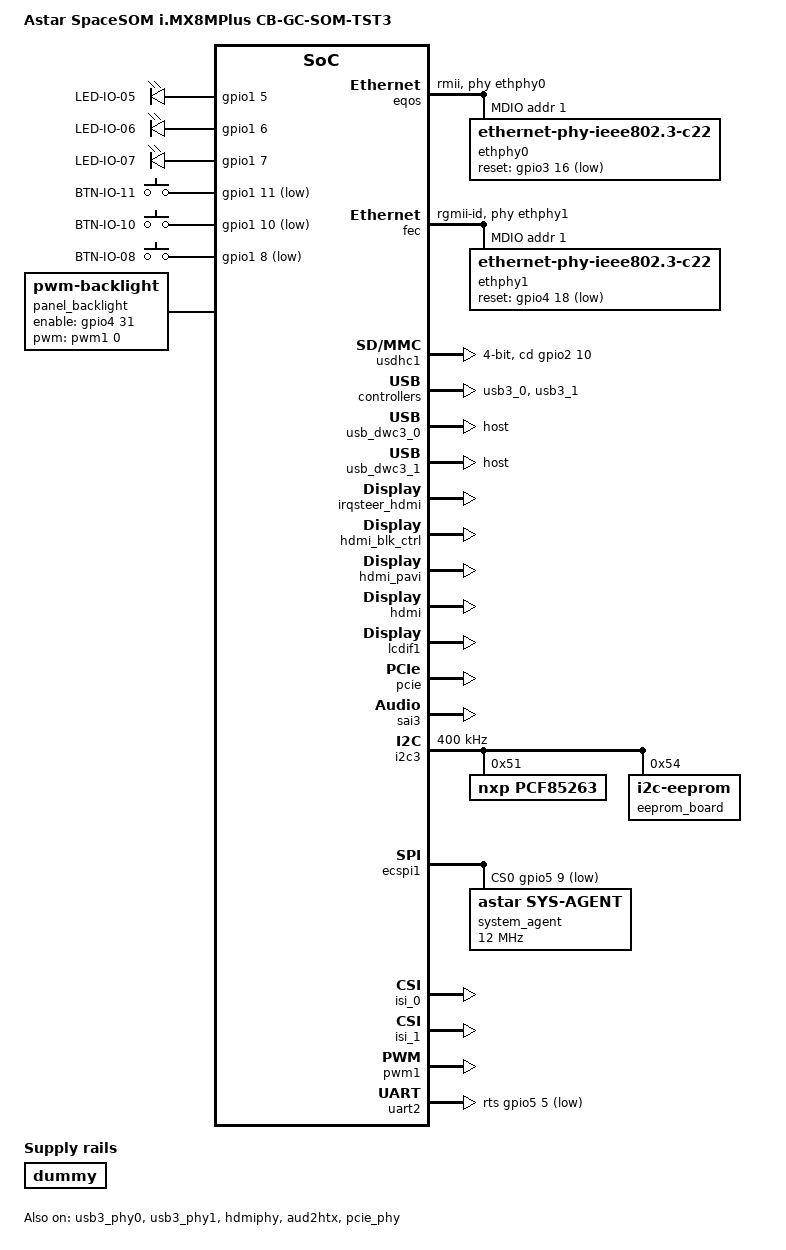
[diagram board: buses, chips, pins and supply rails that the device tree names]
// SPDX-License-Identifier: (GPL-2.0+ OR MIT)
/*
 * Copyright 2022 SomLabs Astar
 *
 */

#include <dt-bindings/pwm/pwm.h>
#include "spacesom-8mplus.dtsi"
#include "spacesom-8mplus-cb-sound-nau8822.dtsi"

/ {
        model = "Astar SpaceSOM i.MX8MPlus CB-GC-SOM-TST3";

        aliases {
		rtc0 = &pcf85263;
		rtc1 = &snvs_rtc;
	};

        dummy: regulator-dummy {
                compatible = "regulator-fixed";
                regulator-name = "dummy";
	        regulator-always-on;
        };

        leds {
                pinctrl-0 = <&pinctrl_gpio_leds_cb>;

                led-io-05 {
                        label = "LED-IO-05";
                        gpios = <&gpio1 5 0>;
                        default-state = "off";
                };
                led-io-06 {
                        label = "LED-IO-06";
                        gpios = <&gpio1 6 0>;
                        default-state = "off";
                };
                led-io-07 {
                        label = "LED-IO-07";
                        gpios = <&gpio1 7 0>;
                        default-state = "off";
                };
        };


        somstatus {
                pinctrl-0 = <&pinctrl_gpio_som_status>;
                pinctrl-names = "default";
                status = "okay";
                status-io-01 {
                        label = "STATUS-IO-01";
                        gpios = <&gpio1 9 0>;
                        default-state = "off";
                };
        };

        gpio_buttons: gpio_buttons0 {
                compatible = "gpio-keys";
                pinctrl-names = "default";
                pinctrl-0 = <&pinctrl_gpio_buttons_cb>;
                #address-cells = <1>;
                #size-cells = <0>;

                switch1 {
                        label = "BTN-IO-11";
                        linux,code = <0x100>;
                        gpios = <&gpio1 11 GPIO_ACTIVE_LOW>;
                };

                switch2 {
                        label = "BTN-IO-10";
                        linux,code = <0x101>;
                        gpios = <&gpio1 10 GPIO_ACTIVE_LOW>;
                };

                switch4 {
                        label = "BTN-IO-08";
                        linux,code = <0x103>;
                        gpios = <&gpio1 8 GPIO_ACTIVE_LOW>;
                };
        };

        panel_backlight: panel-backlight {
                compatible = "pwm-backlight";
                pinctrl-names = "default";
                pinctrl-0 = <&pinctrl_panel_backlight_en>;
                pwms = <&pwm1 0 25000 PWM_POLARITY_INVERTED>;

                brightness-levels = < 0  1  2  3  4  5  6  7  8  9
                                     10 11 12 13 14 15 16 17 18 19
                                     20 21 22 23 24 25 26 27 28 29
                                     30 31 32 33 34 35 36 37 38 39
                                     40 41 42 43 44 45 46 47 48 49
                                     50 51 52 53 54 55 56 57 58 59
                                     60 61 62 63 64 65 66 67 68 69
                                     70 71 72 73 74 75 76 77 78 79
                                     80 81 82 83 84 85 86 87 88 89
                                     90 91 92 93 94 95 96 97 98 99
                                     100>;
                default-brightness-level = <80>;

                enable-gpios = <&gpio4 31 0>;
                //status = "disabled";
                //status = "okay";
        };
};

&eqos {
        pinctrl-names = "default";
        pinctrl-0 = <&pinctrl_eqos>;
        phy-int-gpios = <&gpio4 20 GPIO_ACTIVE_LOW>; /* GPIO4_20 */
        phy-mode = "rmii";
        phy-handle = <&ethphy0>;
        snps,force_thresh_dma_mode;
        snps,mtl-tx-config = <&mtl_tx_setup>;
        snps,mtl-rx-config = <&mtl_rx_setup>;
        status = "okay";
        snps,rmii_refclk_ext;

        mdio {
                compatible = "snps,dwmac-mdio";
                #address-cells = <1>;
                #size-cells = <0>;

                ethphy0: ethernet-phy@1 {
                        compatible = "ethernet-phy-ieee802.3-c22";
                        reg = <1>;
                        eee-broken-1000t;
                        reset-gpios = <&gpio3 16 GPIO_ACTIVE_LOW>;
                        reset-assert-us = <10000>;
                        reset-deassert-us = <80000>;
                        //realtek,clkout-disable;
                };
        };

        mtl_tx_setup: tx-queues-config {
                snps,tx-queues-to-use = <5>;
                snps,tx-sched-sp;
                queue0 {
                        snps,dcb-algorithm;
                        snps,priority = <0x1>;
                };
                queue1 {
                        snps,dcb-algorithm;
                        snps,priority = <0x2>;
                };
                queue2 {
                        snps,dcb-algorithm;
                        snps,priority = <0x4>;
                };
                queue3 {
                        snps,dcb-algorithm;
                        snps,priority = <0x8>;
                };
                queue4 {
                        snps,dcb-algorithm;
                        snps,priority = <0xf0>;
                };
        };

        mtl_rx_setup: rx-queues-config {
                snps,rx-queues-to-use = <5>;
                snps,rx-sched-sp;
                queue0 {
                        snps,dcb-algorithm;
                        snps,priority = <0x1>;
                        snps,map-to-dma-channel = <0>;
                };
                queue1 {
                        snps,dcb-algorithm;
                        snps,priority = <0x2>;
                        snps,map-to-dma-channel = <1>;
                };
                queue2 {
                        snps,dcb-algorithm;
                        snps,priority = <0x4>;
                        snps,map-to-dma-channel = <2>;
                };
                queue3 {
                        snps,dcb-algorithm;
                        snps,priority = <0x8>;
                        snps,map-to-dma-channel = <3>;
                };
                queue4 {
                        snps,dcb-algorithm;
                        snps,priority = <0xf0>;
                        snps,map-to-dma-channel = <4>;
                };
        };
};

&fec {
        pinctrl-names = "default";
        pinctrl-0 = <&pinctrl_fec>;
        phy-int-gpios = <&gpio4 19 GPIO_ACTIVE_LOW>; /* GPIO4_19 */
        phy-mode = "rgmii-id";
        //phy-mode = "rgmii-rxid"; //tobylo
        phy-handle = <&ethphy1>;
        fsl,magic-packet;
        status = "okay";

        mdio {
                #address-cells = <1>;
                #size-cells = <0>;

                ethphy1: ethernet-phy@1 {
                        compatible = "ethernet-phy-ieee802.3-c22";
                        reg = <1>;
                        eee-broken-1000t;
                        reset-gpios = <&gpio4 18 GPIO_ACTIVE_LOW>;
                        reset-assert-us = <10000>;
                        reset-deassert-us = <80000>;
                        realtek,aldps-enable;
                        realtek,clkout-disable;
                };
        };     
};

&iomuxc {
        pinctrl-names = "default";
        pinctrl-0 = <&pinctrl_gpio_som_status>;
/*        
        pinctrl-0 = <&pinctrl_hog>;

        pinctrl_hog: hoggrp {
                fsl,pins = <
                        MX8MP_IOMUXC_HDMI_DDC_SCL__HDMIMIX_HDMI_SCL     0x400001c3
                        MX8MP_IOMUXC_HDMI_DDC_SDA__HDMIMIX_HDMI_SDA     0x400001c3
                        MX8MP_IOMUXC_HDMI_HPD__HDMIMIX_HDMI_HPD         0x40000019
                        MX8MP_IOMUXC_HDMI_CEC__HDMIMIX_HDMI_CEC         0x40000019
                >;
        };
 */       

        pinctrl_gpio_leds_cb: gpioledscb {          /* 4x LEDs on  carrier board */
                fsl,pins = <
                        MX8MP_IOMUXC_GPIO1_IO05__GPIO1_IO05             0x19
                        MX8MP_IOMUXC_GPIO1_IO06__GPIO1_IO06             0x19
                        MX8MP_IOMUXC_GPIO1_IO07__GPIO1_IO07             0x19
                >;
        };

        pinctrl_gpio_buttons_cb: gpiobuttonscb {      /* 4x buttons on  carrier board */
                fsl,pins = <
                        MX8MP_IOMUXC_GPIO1_IO08__GPIO1_IO08             0x1c0
                        MX8MP_IOMUXC_GPIO1_IO10__GPIO1_IO10             0x1c0
                        MX8MP_IOMUXC_GPIO1_IO11__GPIO1_IO11             0x1c0
                >;
        };

        pinctrl_gpio_som_status: gpiosomstatus {
                fsl,pins = <
                        MX8MP_IOMUXC_GPIO1_IO09__GPIO1_IO09             0x19
                >;
        };

        pinctrl_panel_backlight_en: panel_backlight_en {
                fsl,pins = <
                        MX8MP_IOMUXC_SAI5_RXD1__GPIO3_IO22                 0x19
                >;
        };

        pinctrl_panel_backlight_pwm: panel_backlight_pwm {
                fsl,pins = <
                        MX8MP_IOMUXC_GPIO1_IO01__PWM1_OUT               0x19
                >;
        };

        pinctrl_panel_reset: panel_reset {
                fsl,pins = <
                        MX8MP_IOMUXC_SAI3_TXC__GPIO5_IO00               0x19
                >;
        };

        pinctrl_csi0: csi0_grp {
                fsl,pins = <
                        MX8MP_IOMUXC_GPIO1_IO00__GPIO1_IO00             0x19
                >;
        };

        pinctrl_csi1: csi1_grp {
                fsl,pins = <
                        MX8MP_IOMUXC_UART1_RXD__GPIO5_IO22              0x19
                        MX8MP_IOMUXC_UART1_TXD__GPIO5_IO23              0x19
                >;
        };

        pinctrl_eqos: eqosgrp {
                fsl,pins = <
                        MX8MP_IOMUXC_ENET_MDC__ENET_QOS_MDC                             0x3
                        MX8MP_IOMUXC_ENET_MDIO__ENET_QOS_MDIO                           0x3
                        MX8MP_IOMUXC_ENET_RD0__ENET_QOS_RGMII_RD0                       0x91
                        MX8MP_IOMUXC_ENET_RD1__ENET_QOS_RGMII_RD1                       0x91
                        MX8MP_IOMUXC_ENET_RD2__ENET_QOS_RGMII_RD2                       0x91
                        MX8MP_IOMUXC_ENET_RD3__ENET_QOS_RGMII_RD3                       0x91
                        MX8MP_IOMUXC_ENET_RXC__CCM_ENET_QOS_CLOCK_GENERATE_RX_CLK       0x91
                        MX8MP_IOMUXC_ENET_RX_CTL__ENET_QOS_RGMII_RX_CTL                 0x91
                        MX8MP_IOMUXC_ENET_TD0__ENET_QOS_RGMII_TD0                       0x1f
                        MX8MP_IOMUXC_ENET_TD1__ENET_QOS_RGMII_TD1                       0x1f
                        MX8MP_IOMUXC_ENET_TD2__CCM_ENET_QOS_CLOCK_GENERATE_REF_CLK      0x1f
                        MX8MP_IOMUXC_ENET_TD3__ENET_QOS_RGMII_TD3                       0x1f
                        MX8MP_IOMUXC_ENET_TX_CTL__ENET_QOS_RGMII_TX_CTL                 0x1f
                        MX8MP_IOMUXC_ENET_TXC__CCM_ENET_QOS_CLOCK_GENERATE_TX_CLK       0x1f
                        MX8MP_IOMUXC_NAND_READY_B__GPIO3_IO16                           0x19    /* phy reset */
                        MX8MP_IOMUXC_SAI1_MCLK__GPIO4_IO20                              0x41    /* phy int */
                >;
        };

        pinctrl_fec: fecgrp {
                fsl,pins = <
                        MX8MP_IOMUXC_SAI1_RXD2__ENET1_MDC               0x3
                        MX8MP_IOMUXC_SAI1_RXD3__ENET1_MDIO              0x3
                        MX8MP_IOMUXC_SAI1_RXD4__ENET1_RGMII_RD0         0x91
                        MX8MP_IOMUXC_SAI1_RXD5__ENET1_RGMII_RD1         0x91
                        MX8MP_IOMUXC_SAI1_RXD6__ENET1_RGMII_RD2         0x91
                        MX8MP_IOMUXC_SAI1_RXD7__ENET1_RGMII_RD3         0x91
                        MX8MP_IOMUXC_SAI1_TXC__ENET1_RGMII_RXC          0x91
                        MX8MP_IOMUXC_SAI1_TXFS__ENET1_RGMII_RX_CTL      0x91
                        MX8MP_IOMUXC_SAI1_TXD0__ENET1_RGMII_TD0         0x1f
                        MX8MP_IOMUXC_SAI1_TXD1__ENET1_RGMII_TD1         0x1f
                        MX8MP_IOMUXC_SAI1_TXD2__ENET1_RGMII_TD2         0x1f
                        MX8MP_IOMUXC_SAI1_TXD3__ENET1_RGMII_TD3         0x1f
                        MX8MP_IOMUXC_SAI1_TXD4__ENET1_RGMII_TX_CTL      0x1f
                        MX8MP_IOMUXC_SAI1_TXD5__ENET1_RGMII_TXC         0x1f
                        MX8MP_IOMUXC_SAI1_TXD6__GPIO4_IO18              0x19    /* phy reset */
                        MX8MP_IOMUXC_SAI1_TXD7__GPIO4_IO19              0x41    /* phy int */
                >;
        };

        //pinctrl_fec_1588: fec1588grp {
        //        fsl,pins = <
        //                MX8MP_IOMUXC_SAI1_RXFS__ENET1_1588_EVENT0_IN    0x91
        //                MX8MP_IOMUXC_SAI1_RXC__ENET1_1588_EVENT0_OUT    0x1f
        //                MX8MP_IOMUXC_SAI1_RXD0__ENET1_1588_EVENT1_IN    0x91
        //                MX8MP_IOMUXC_SAI1_RXD1__ENET1_1588_EVENT1_OUT   0x1f
        //        >;
        //};

        pinctrl_touch: touch_grp {
                fsl,pins = <
                        MX8MP_IOMUXC_GPIO1_IO04__GPIO1_IO04               0x19
                        MX8MP_IOMUXC_GPIO1_IO03__GPIO1_IO03               0x1c0
                >;
        };      

        pinctrl_sai3: sai3grp {
                fsl,pins = <
                        MX8MP_IOMUXC_SAI3_RXFS__AUDIOMIX_SAI3_RX_SYNC	0xd6
                        MX8MP_IOMUXC_SAI3_RXC__AUDIOMIX_SAI3_RX_BCLK	0xd6
                        MX8MP_IOMUXC_SAI3_RXD__AUDIOMIX_SAI3_RX_DATA00	0xd6
                        MX8MP_IOMUXC_SAI3_TXD__AUDIOMIX_SAI3_TX_DATA00	0xd6
                        MX8MP_IOMUXC_SAI3_MCLK__AUDIOMIX_SAI3_MCLK	0xd6
                >;
        };

        pinctrl_usdhc1_gpio: usdhc1gpiogrp {
                fsl,pins = <
                        MX8MP_IOMUXC_SD1_RESET_B__GPIO2_IO10            0x1c4
                >;
        };

        pinctrl_usdhc1: usdhc1grp {
                fsl,pins = <
                        MX8MP_IOMUXC_SD1_CLK__USDHC1_CLK                0x190
                        MX8MP_IOMUXC_SD1_CMD__USDHC1_CMD                0x1d0
                        MX8MP_IOMUXC_SD1_DATA0__USDHC1_DATA0            0x1d0
                        MX8MP_IOMUXC_SD1_DATA1__USDHC1_DATA1            0x1d0
                        MX8MP_IOMUXC_SD1_DATA2__USDHC1_DATA2            0x1d0
                        MX8MP_IOMUXC_SD1_DATA3__USDHC1_DATA3            0x1d0
                >;
        };

        pinctrl_uart2_rts: uart2rtsgrp {
                fsl,pins = <
                        MX8MP_IOMUXC_SPDIF_EXT_CLK__GPIO5_IO05          0x19
                >;
        };

        pinctrl_typec: typec1grp {
                fsl,pins = <
                        MX8MP_IOMUXC_SD1_STROBE__GPIO2_IO11             0x1c4
                >;
        };

};

&usdhc1 {
        pinctrl-names = "default";
        pinctrl-0 = <&pinctrl_usdhc1 &pinctrl_usdhc1_gpio>;

        cd-gpios = <&gpio2 10 GPIO_ACTIVE_HIGH>;
        no-1-8-v;           //todo: PMIC allows to control SD card voltage, add support for this in software/dts
        bus-width = <4>;
        fsl,delay-line = <8>;
        status = "okay";
};

&usb3_phy0 {
        fsl,phy-tx-vref-tune = <0xe>;
        fsl,phy-tx-preemp-amp-tune = <3>;
        fsl,phy-tx-vboost-level = <5>;
        fsl,phy-comp-dis-tune = <7>;
        fsl,pcs-tx-deemph-3p5db = <0x21>;
        fsl,phy-pcs-tx-swing-full = <0x7f>;
        status = "okay";
};

&usb3_0 {
        status = "okay";
};

&usb_dwc3_0 {
        pinctrl-names = "default";
        pinctrl-0 = <&pinctrl_usb0_vbus>;
        dr_mode = "host";
        hnp-disable;
        srp-disable;
        adp-disable;
        usb-role-switch;
//      role-switch-default-mode = "none";
        status = "okay";

        //port {
        //        usb3_role_switch: endpoint {
        //                remote-endpoint = <&pi5usb30213a_ep>;
        //        };
        //};
};

&usb3_phy1 {
        fsl,phy-tx-preemp-amp-tune = <3>;
        fsl,phy-tx-vref-tune = <0xb>;
        status = "okay";
};

&usb3_1 {
        status = "okay";
};

&usb_dwc3_1 {
        pinctrl-names = "default";
        pinctrl-0 = <&pinctrl_usb1_vbus>;
        dr_mode = "host";
        status = "okay";
};

&irqsteer_hdmi {
        status = "okay";
};

&hdmi_blk_ctrl {
        status = "okay";
};

&hdmi_pavi {
        status = "okay";
};

&hdmi {
        status = "okay";
};

&hdmiphy {
        status = "okay";
};

&aud2htx {
	status = "okay";
};

&lcdif1 {
        status = "okay";
};

/*
&lcdif2 {
        status = "okay";
};

&lcdif3 {
        status = "okay";

        thres-low  = <1 2>;             
        thres-high = <3 4>;            
};
*/

&pcie{
        pinctrl-names = "default";
        // pinctrl-0 = <&pinctrl_pcie>;
        // disable-gpio = <&gpio2 6 GPIO_ACTIVE_LOW>;
        // reset-gpio = <&gpio2 7 GPIO_ACTIVE_LOW>;
        clocks = <&clk IMX8MP_CLK_HSIO_ROOT>,
                <&clk IMX8MP_CLK_PCIE_AUX>,
                <&clk IMX8MP_CLK_HSIO_AXI>,
                <&clk IMX8MP_CLK_PCIE_ROOT>;
        clock-names = "pcie", "pcie_aux", "pcie_phy", "pcie_bus";
        assigned-clocks = <&clk IMX8MP_CLK_HSIO_AXI>,
                          <&clk IMX8MP_CLK_PCIE_AUX>;
        assigned-clock-rates = <500000000>, <10000000>;
        assigned-clock-parents = <&clk IMX8MP_SYS_PLL2_500M>,
                                <&clk IMX8MP_SYS_PLL2_50M>;
        ext_osc = <0>;
        status = "okay";
};

&pcie_phy{
        ext_osc = <0>;
        status = "okay";
};

&sai3 {
        pinctrl-names = "default";
        pinctrl-0 = <&pinctrl_sai3>;
        assigned-clocks = <&clk IMX8MP_CLK_SAI3>;
 	assigned-clock-parents = <&clk IMX8MP_AUDIO_PLL1_OUT>;
        assigned-clock-rates = <12288000>;
        //assigned-clock-rates = <786432000>, <49152000>, <12288000>;
        fsl,sai-synchronous-rx;
        fsl,sai-mclk-direction-output;
        #sound-dai-cells = <0>;
        status = "okay";
};

&i2c3 {
        clock-frequency = <400000>;
        status = "okay";

        pcf85263: rtc@51 {
          compatible = "nxp,pcf85263";
          reg = <0x51>;
          status = "okay";
        };
        
        eeprom_board: eeprom@54 {
                compatible = "i2c-eeprom", "atmel,24c64";
 		pagesize = <32>;
		address-width = <16>;
 		reg = <0x54>;
        };
        
};

/*
&i2c4 {
        clock-frequency = <100000>;
        status = "okay";
};
*/

&ecspi1 {
        pinctrl-names = "default";
        pinctrl-0 = <&pinctrl_ecspi1 &pinctrl_ecspi1_cs>;
        cs-gpios = <&gpio5 9 GPIO_ACTIVE_LOW>;
        status = "okay";

        system_agent: spidev@0 {
               compatible = "astar,sys-agent";
               spi-max-frequency = <12000000>;
               reg = <0>;
        };
};

/*
&ldb {
        status = "okay";

        lvds-channel@0 {
                fsl,data-mapping = "spwg";
                fsl,data-width = <24>;
                status = "okay";

                port@1 {
                        reg = <1>;
                        lvds_out: endpoint {
                                remote-endpoint = <&panel_lvds_in>;
                        };
                };
        };
};

&ldb_phy {
        status = "okay";
};
*/

/*
&mipi_csi_0 {
        #address-cells = <1>;
        #size-cells = <0>;
        status = "disabled";

        port@0 {
                reg = <0>;
                mipi_csi0_ep: endpoint {
                        remote-endpoint = <&ov5640_mipi_0_ep>;
                        data-lanes = <2>;
                        csis-hs-settle = <13>;
                        csis-clk-settle = <2>;
                        csis-wclk;
                };
        };
};

&mipi_csi_1 {
        #address-cells = <1>;
        #size-cells = <0>;
        status = "disabled";

        port@1 {
                reg = <1>;
                mipi_csi1_ep: endpoint {
                        remote-endpoint = <&ov5640_mipi_1_ep>;
                        data-lanes = <2>;
                        csis-hs-settle = <13>;
                        csis-clk-settle = <2>;
                        csis-wclk;
                        swap-clk;
                        swap-data;
                };
        };
};
*/

&cameradev {
        status = "disabled";
};

&isi_0 {
        status = "okay";

        cap_device {
                status = "okay";
        };

        m2m_device {
                status = "okay";
        };
};

&isi_1 {
        status = "okay";

        cap_device {
                status = "okay";
        };
};

&flexcan1 {
        status = "disabled";
};

&flexcan2 {
        status = "disabled";
};

&pwm1 {
    pinctrl-names = "default";
    pinctrl-0 = <&pinctrl_panel_backlight_pwm>;
    status = "okay";
    //status = "disabled";
};

&uart2 {
    pinctrl-0 = <&pinctrl_uart2 &pinctrl_uart2_rts>;
    rts-gpios = <&gpio5 5 GPIO_ACTIVE_LOW>;
    linux,rs485-enabled-at-boot-time;
    status = "okay";
};
